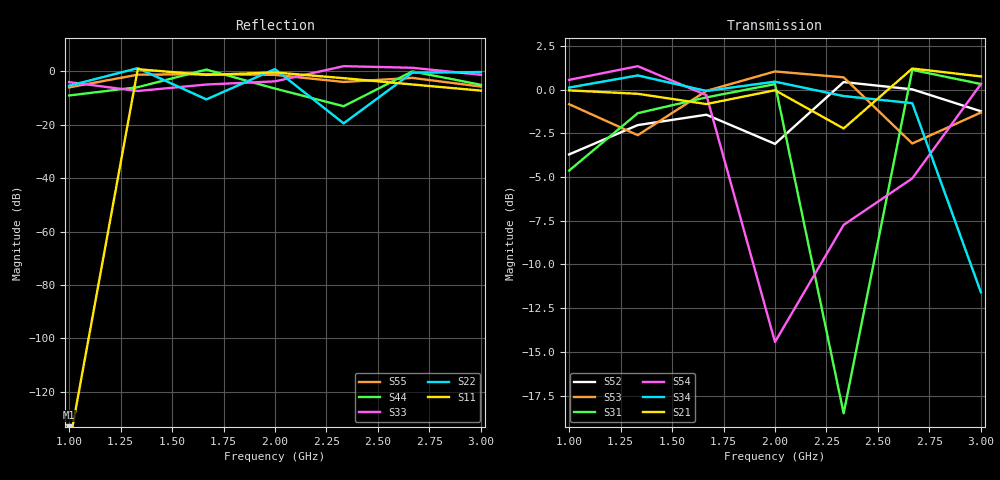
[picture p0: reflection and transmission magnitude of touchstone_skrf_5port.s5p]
! Created with skrf 1.9.0 (http://scikit-rf.org).
# Hz S RI R 50.0
!freq ReS11 ImS11 ReS12 ImS12 ReS13 ImS13
! ReS14 ImS14 ReS15 ImS15
! ReS21 ImS21 ReS22 ImS22 ReS23 ImS23
! ReS24 ImS24 ReS25 ImS25
! ReS31 ImS31 ReS32 ImS32 ReS33 ImS33
! ReS34 ImS34 ReS35 ImS35
! ReS41 ImS41 ReS42 ImS42 ReS43 ImS43
! ReS44 ImS44 ReS45 ImS45
! ReS51 ImS51 ReS52 ImS52 ReS53 ImS53
! ReS54 ImS54 ReS55 ImS55
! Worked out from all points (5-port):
!   7 points, 1 GHz to 3 GHz, reference 50 ohm
!   strongest paths, dB at 1 GHz, 1.333 GHz, 2 GHz, 2.667 GHz, 3 GHz:
!     S21: 0.0, -0.2, 0.0, 1.2, 0.7
!     S34: 0.1, 0.8, 0.4, -0.8, -11.6
!     S54: 0.6, 1.3, -14.4, -5.1, 0.3
!     S31: -4.6, -1.4, 0.3, 1.1, 0.3
!     S53: -0.8, -2.6, 1.0, -3.1, -1.3
!     S52: -3.7, -2.0, -3.1, 0.0, -1.2
!   lowest |S11| = -140.0 dB at 1 GHz (marker M1), VSWR 1.00, Z = 50 - j2.5e-10 ohm
!   |S11| at or under -10 dB: start of sweep to 1.308 GHz
